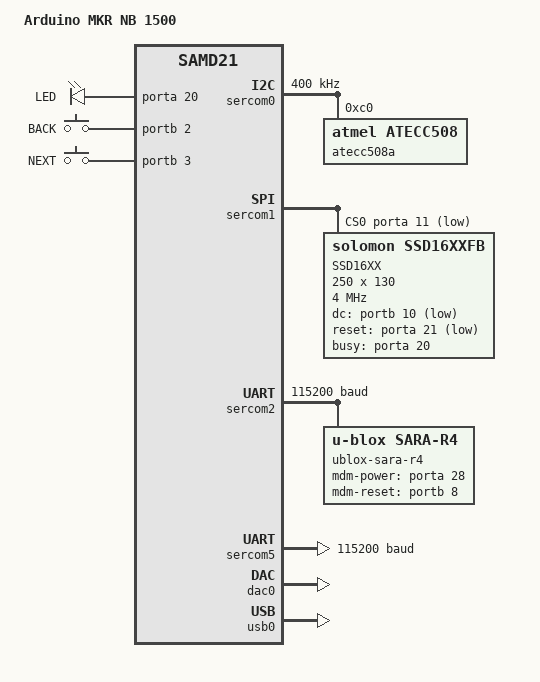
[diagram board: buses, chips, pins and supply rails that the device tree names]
/*
 * Copyright (c) 2022 TOKITA Hiroshi <tokita.hiroshi@fujitsu.com>
 *
 * SPDX-License-Identifier: Apache-2.0
 */

/dts-v1/;
#include <atmel/samd21.dtsi>
#include "arduino_mkrnb1500-pinctrl.dtsi"
#include "arduino_mkr_connector.dtsi"

/ {
	model = "Arduino MKR NB 1500";
	compatible = "arduino,mkrnb1500";

	chosen {
		//zephyr,console = &cdc_acm_uart0;
		zephyr,console = &sercom5;
		zephyr,shell-uart = &sercom5;
		zephyr,sram = &sram0;
		zephyr,flash = &flash0;
		zephyr,code-partition = &code_partition;
		zephyr,display = &eink;
	};

	leds {
		compatible = "gpio-leds";
		led0: led_0 {
			gpios = <&porta 20 0>;
			label = "LED";
		};
	};

	buttons {
		compatible = "gpio-keys";
		button0: button_0{
			gpios = <&portb 2 0>;
			label = "BACK";
		};
		button1: button_1{
			gpios = <&portb 3 0>;
			label = "NEXT";
		};
	};

	aliases {
		led0 = &led0;
		sw0 = &button0;
		sw1 = &button1;
	};
};

&cpu0 {
	clock-frequency = <48000000>;
};

&sercom0 {
	status = "okay";
	compatible = "atmel,sam0-i2c";
	clock-frequency = <I2C_BITRATE_FAST>;
	#address-cells = <1>;
	#size-cells = <0>;

	pinctrl-0 = <&sercom0_i2c_default>;
	pinctrl-names = "default";

	atecc508a@c0 {
		compatible = "atmel,atecc508";
		reg = <0xc0>;
	};

};

&sercom1 {
	status = "okay";
	compatible = "atmel,sam0-spi";
	dipo = <3>;
	dopo = <0>;
	
	cs-gpios = <&porta 11 GPIO_ACTIVE_LOW>;
	
	#address-cells = <1>;
	#size-cells = <0>;

	pinctrl-0 = <&sercom1_spi_default>;
	pinctrl-names = "default";
	
	eink: ssd16xxfb@0 {
		compatible = "solomon,ssd16xxfb";
		label = "SSD16XX";
		spi-max-frequency = <4000000>;
		reg = <0>;
		width = <250>;
		height = <130>;
		orientation-flipped;
		pp-width-bits = <8>;
		pp-height-bits = <16>;
        	dc-gpios = <&portb 10 GPIO_ACTIVE_LOW>;    // D4
	        reset-gpios = <&porta 21 GPIO_ACTIVE_LOW>;    // D7
        	busy-gpios = <&porta 20 GPIO_ACTIVE_HIGH>;    // D6
        	
        	//gdv = [17];
        	//sdv = [41 00 32];
        	//vcom = <0x36>;
        	//border-waveform = <0x05>;
        };
};

&sercom2 {
	status = "okay";
	compatible = "atmel,sam0-uart";
	current-speed = <115200>;
	rxpo = <1>;
	txpo = <0>;

	pinctrl-0 = <&sercom2_uart_default>;
	pinctrl-names = "default";
	
	sara_r4 {
		status = "okay";
		compatible = "u-blox,sara-r4";
		label = "ublox-sara-r4";

		mdm-power-gpios = <&porta 28 0>;
		mdm-reset-gpios = <&portb 8 0>;
		//mdm-vint-gpios = <&portb 8 0>;
	};	
};

&sercom5 {
	status = "okay";
	compatible = "atmel,sam0-uart";
	current-speed = <115200>;
	rxpo = <3>;
	txpo = <1>;

	pinctrl-0 = <&sercom5_uart_default>;
	pinctrl-names = "default";
};

&dac0 {
	status = "okay";

	pinctrl-0 = <&dac_default>;
	pinctrl-names = "default";
};

&flash0 {
	partitions {
		compatible = "fixed-partitions";
		#address-cells = <1>;
		#size-cells = <1>;

		boot_partition: partition@0 {
			label = "bootloader";
			reg = <0x00000000 0x2000>;
			read-only;
		};

		code_partition: partition@2000 {
			label = "code";
			reg = <0x2000 0x3A000>;
			read-only;
		};

		/*
		 * The final 16 KiB is reserved for the application.
		 * Storage partition will be used by FCB/LittleFS/NVS
		 * if enabled.
		 */
		storage_partition: partition@3c000 {
			label = "storage";
			reg = <0x0003c000 0x00004000>;
		};
	};
};

zephyr_udc0: &usb0 {
	status = "okay";
	
	cdc_acm_uart0: cdc_acm_uart0 {
	    	compatible = "zephyr,cdc-acm-uart";
		label = "CDC_ACM_0";
	};

	pinctrl-0 = <&usb_dc_default>;
	pinctrl-names = "default";
};
